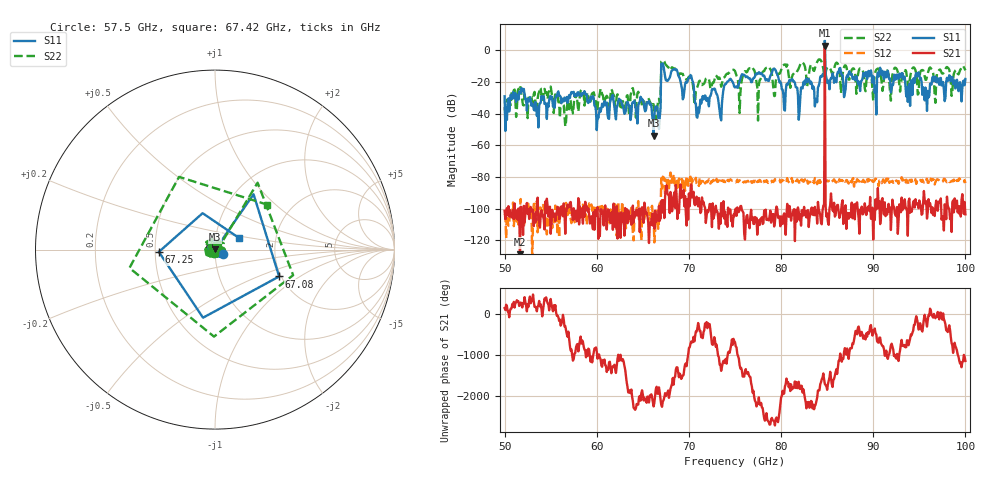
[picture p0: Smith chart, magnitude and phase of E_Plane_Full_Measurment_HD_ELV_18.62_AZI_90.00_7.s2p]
! 11/26/2026 3:17:17 PM
! C:\ANRITSUVNA\TEMP\TEMP.S2P
! CHANNEL.1
! TR.MEASUREMENT
! RAW.DATA
# HZ S RI R 50.0
! FREQ.HZ  S11RE  S11IM  S21RE  S21IM  S12RE  S12IM  S22RE  S22IM
!; PortSelection: Port_12
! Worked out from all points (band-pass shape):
!   601 points, 50 GHz to 100 GHz, reference 50 ohm
!   highest |S21| = 3.03 dB at 84.75 GHz (marker M1); lowest = -128.9 dB at 51.67 GHz (marker M2)
!   |S21| within 3 dB of the highest: 84.74751 GHz to 84.75246 GHz (4.949 MHz wide, 0.00584 % of centre)
!   lowest |S11| = -53.8 dB at 66.17 GHz (marker M3), VSWR 1.00, Z = 50.1 + j0.15 ohm
!   |S11| at or under -10 dB: start of sweep to 67 GHz; 67.25 GHz to 84.69 GHz (17.44 GHz wide, 23 % of centre); 84.81 GHz to end of sweep
!   |S22| runs from -48.1 to -5.6 dB; largest |S21 - S12| = 1.4
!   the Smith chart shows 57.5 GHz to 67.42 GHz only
!   S11 on the Smith chart (normalised r, x): 57.5 GHz: 1.09, -0.05; 67.08 GHz: 1.95, -0.69; 67.25 GHz: 0.52, -0.01; 67.42 GHz: 1.29, +0.17
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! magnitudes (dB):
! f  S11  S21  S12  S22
! 50 GHz  -29.0  -101.3  -103.2  -35.9
! 51.67 GHz  -26.3  -128.9  -99.2  -23.3
! 53.42 GHz  -34.8  -102.2  -103.9  -35.4
! 57.5 GHz  -26.2  -99.7  -102.3  -34.7
! 58.42 GHz  -27.2  -103.2  -106.0  -24.7
! 60.17 GHz  -42.8  -119.0  -100.0  -30.4
! 66.17 GHz  -53.8  -103.0  -104.6  -34.0
! 66.67 GHz  -41.5  -107.4  -112.7  -31.7
! 67.08 GHz  -8.2  -94.5  -87.2  -6.8
! 67.25 GHz  -10.1  -94.6  -80.2  -6.2
! 67.42 GHz  -16.6  -92.0  -92.0  -8.3
! 70.25 GHz  -15.9  -84.8  -88.2  -18.8
! 70.92 GHz  -42.5  -96.4  -84.6  -23.1
! 75 GHz  -23.4  -101.4  -82.9  -13.0
! 79.25 GHz  -11.5  -111.2  -82.4  -28.8
! 80.25 GHz  -27.8  -104.2  -82.3  -9.3
! 83.42 GHz  -24.3  -103.8  -83.0  -10.8
! 84.75 GHz  6.3  3.0  -82.5  -16.8
! 85.08 GHz  -18.9  -108.4  -82.8  -10.4
! 91.67 GHz  -16.6  -96.9  -80.2  -15.2
! 95.83 GHz  -38.2  -106.2  -81.1  -16.5
! 100 GHz  -18.0  -103.6  -83.8  -12.6
